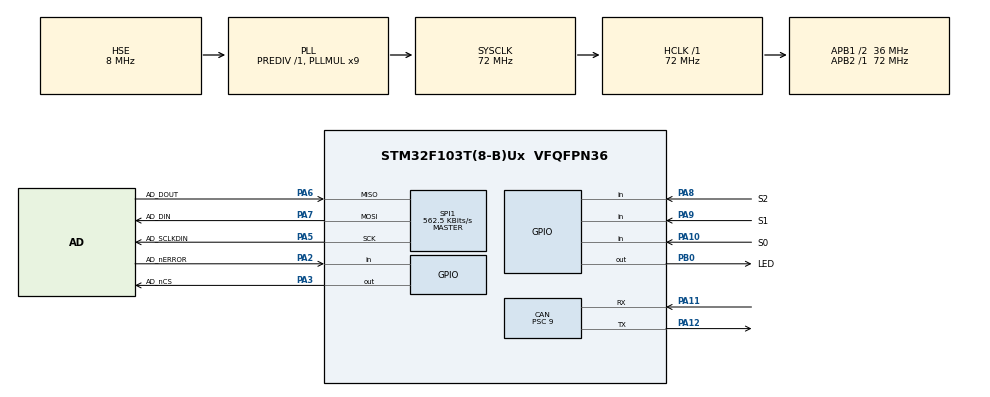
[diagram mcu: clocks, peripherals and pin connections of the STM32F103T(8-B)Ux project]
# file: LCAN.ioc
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CAN.ABOM=DISABLE
CAN.BS1=CAN_BS1_15TQ
CAN.BS2=CAN_BS2_4TQ
CAN.CalculateBaudRate=200000
CAN.CalculateTimeBit=5000.00
CAN.CalculateTimeQuantum=250.0
CAN.NART=DISABLE
CAN.Prescaler=9
CAN.SJW=CAN_SJW_4TQ
FREERTOS.Tasks01=ConsumerTask,0,128,ConsumerStarttTask,Default,NULL,Dynamic,NULL,NULL;ProducerTask,-3,128,ProducerStartTask,Default,NULL,Dynamic,NULL,NULL;Producet_ad_Tas,-3,128,Producet_ad_Task,Default,NULL,Dynamic,NULL,NULL
Mcu.Family=STM32F1
Mcu.Name=STM32F103T(8-B)Ux
Mcu.Package=VFQFPN36
NVIC.PriorityGroup=NVIC_PRIORITYGROUP_4
NVIC.TIM1_UP_IRQn=true\:5\:0\:false\:false\:true\:true\:true\:true
NVIC.TIM2_IRQn=true\:0\:0\:false\:false\:true\:false\:false\:true
NVIC.TimeBase=TIM2_IRQn
NVIC.TimeBaseIP=TIM2
NVIC.USB_LP_CAN1_RX0_IRQn=true\:5\:0\:false\:false\:true\:true\:true\:true
PA10.GPIO_Label=S0
PA10.GPIO_PuPd=GPIO_PULLUP
PA10.Signal=GPIO_Input
PA11.Mode=CAN_Activate
PA11.Signal=CAN_RX
PA12.Mode=CAN_Activate
PA12.Signal=CAN_TX
PA13.Mode=Serial_Wire
PA13.Signal=SYS_JTMS-SWDIO
PA14.Mode=Serial_Wire
PA14.Signal=SYS_JTCK-SWCLK
PA2.GPIO_Label=AD_nERROR
PA2.Signal=GPIO_Input
PA3.GPIO_Label=AD_nCS
PA3.GPIO_Speed=GPIO_SPEED_FREQ_HIGH
PA3.PinState=GPIO_PIN_SET
PA3.Signal=GPIO_Output
PA5.GPIO_Label=AD_SCLKDIN
PA5.Mode=Full_Duplex_Master
PA5.Signal=SPI1_SCK
PA6.GPIO_Label=AD_DOUT
PA6.Mode=Full_Duplex_Master
PA6.Signal=SPI1_MISO
PA7.GPIO_Label=AD_DIN
PA7.Mode=Full_Duplex_Master
PA7.Signal=SPI1_MOSI
PA8.GPIO_Label=S2
PA8.GPIO_PuPd=GPIO_PULLUP
PA8.Signal=GPIO_Input
PA9.GPIO_Label=S1
PA9.GPIO_PuPd=GPIO_PULLUP
PA9.Signal=GPIO_Input
PB0.GPIO_Label=LED
PB0.Signal=GPIO_Output
PD0-OSC_IN.Mode=HSE-External-Oscillator
PD0-OSC_IN.Signal=RCC_OSC_IN
PD1-OSC_OUT.Mode=HSE-External-Oscillator
PD1-OSC_OUT.Signal=RCC_OSC_OUT
ProjectManager.HeapSize=0x200
ProjectManager.StackSize=0x400
ProjectManager.TargetToolchain=MDK-ARM V5.27
RCC.AHBFreq_Value=72000000
RCC.APB1CLKDivider=RCC_HCLK_DIV2
RCC.APB1Freq_Value=36000000
RCC.APB1TimFreq_Value=72000000
RCC.APB2Freq_Value=72000000
RCC.APB2TimFreq_Value=72000000
RCC.HCLKFreq_Value=72000000
RCC.PLLMUL=RCC_PLL_MUL9
RCC.PLLSourceVirtual=RCC_PLLSOURCE_HSE
RCC.SYSCLKFreq_VALUE=72000000
RCC.SYSCLKSource=RCC_SYSCLKSOURCE_PLLCLK
RCC.USBFreq_Value=72000000
SPI1.BaudRatePrescaler=SPI_BAUDRATEPRESCALER_128
SPI1.CLKPhase=SPI_PHASE_2EDGE
SPI1.CLKPolarity=SPI_POLARITY_HIGH
SPI1.CalculateBaudRate=562.5 KBits/s
SPI1.Direction=SPI_DIRECTION_2LINES
SPI1.Mode=SPI_MODE_MASTER
SPI1.VirtualType=VM_MASTER
TIM1.Period=10000-1
TIM1.Prescaler=7200
VP_FREERTOS_VS_CMSIS_V1.Mode=CMSIS_V1
VP_SYS_VS_tim2.Mode=TIM2
VP_TIM1_VS_ClockSourceINT.Mode=Internal
board=custom

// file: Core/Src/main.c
/* USER CODE BEGIN Header */
/**
  ******************************************************************************
  * @file           : main.c
  * @brief          : Main program body
  ******************************************************************************
  * @attention
  *
  * <h2><center>&copy; Copyright (c) 2021 STMicroelectronics.
  * All rights reserved.</center></h2>
  *
  * This software component is licensed by ST under BSD 3-Clause license,
  * the "License"; You may not use this file except in compliance with the
  * License. You may obtain a copy of the License at:
  *                        opensource.org/licenses/BSD-3-Clause
  *
  ******************************************************************************
  */
/* USER CODE END Header */
#include "main.h"
#include "cmsis_os.h"

/* USER CODE BEGIN Includes */
#include "Can_Filter_Init.h"
#include "DataOut.h"
#include "ad7172-2.h"
#include "Dev_Ini.h"
/* USER CODE END Includes */

CAN_HandleTypeDef hcan;

SPI_HandleTypeDef hspi1;

TIM_HandleTypeDef htim1;

osThreadId ConsumerTaskHandle;
osThreadId ProducerTaskHandle;
osThreadId Producet_ad_TasHandle;
/* USER CODE BEGIN PV */
		//定时器信号量
		uint32_t flag = 0;
		 //生产AD信号量
extern volatile int    OneConvert  ;
extern int  AD_Data_Filiter;
extern int  AD_Data;
/* USER CODE END PV */

void SystemClock_Config(void);
static void MX_GPIO_Init(void);
static void MX_CAN_Init(void);
static void MX_SPI1_Init(void);
static void MX_TIM1_Init(void);
void ConsumerStarttTask(void const * argument);
void ProducerStartTask(void const * argument);
void Producet_ad_Task(void const * argument);

int main(void)
{

  /* MCU Configuration--------------------------------------------------------*/

  /* Reset of all peripherals, Initializes the Flash interface and the Systick. */
  HAL_Init();

  /* Configure the system clock */
  SystemClock_Config();

  /* USER CODE BEGIN SysInit */
	//	Dictionary_Data[1].object = XX;
  /* USER CODE END SysInit */

  /* Initialize all configured peripherals */
  MX_GPIO_Init();
  MX_CAN_Init();
  MX_SPI1_Init();
  MX_TIM1_Init();
  /* USER CODE BEGIN 2 */
	Set_FidMode();
	ad7172_ini();
//	if(!SET_MODE)
//			DevIni();
  /* USER CODE END 2 */

  /* Create the thread(s) */
  /* definition and creation of ConsumerTask */
  osThreadDef(ConsumerTask, ConsumerStarttTask, osPriorityNormal, 0, 128);
  ConsumerTaskHandle = osThreadCreate(osThread(ConsumerTask), NULL);

  /* definition and creation of ProducerTask */
  osThreadDef(ProducerTask, ProducerStartTask, osPriorityHigh, 0, 128);
  ProducerTaskHandle = osThreadCreate(osThread(ProducerTask), NULL);

  /* definition and creation of Producet_ad_Tas */
  osThreadDef(Producet_ad_Tas, Producet_ad_Task, osPriorityHigh, 0, 128);
  Producet_ad_TasHandle = osThreadCreate(osThread(Producet_ad_Tas), NULL);

  /* Start scheduler */
   osKernelStart();

  /* We should never get here as control is now taken by the scheduler */
  /* Infinite loop */
  while (1)
  {

  }
}

void SystemClock_Config(void)
{
  RCC_OscInitTypeDef RCC_OscInitStruct = {0};
  RCC_ClkInitTypeDef RCC_ClkInitStruct = {0};

  /** Initializes the RCC Oscillators according to the specified parameters
  * in the RCC_OscInitTypeDef structure.
  */
  RCC_OscInitStruct.OscillatorType = RCC_OSCILLATORTYPE_HSE;
  RCC_OscInitStruct.HSEState = RCC_HSE_ON;
  RCC_OscInitStruct.HSEPredivValue = RCC_HSE_PREDIV_DIV1;
  RCC_OscInitStruct.HSIState = RCC_HSI_ON;
  RCC_OscInitStruct.PLL.PLLState = RCC_PLL_ON;
  RCC_OscInitStruct.PLL.PLLSource = RCC_PLLSOURCE_HSE;
  RCC_OscInitStruct.PLL.PLLMUL = RCC_PLL_MUL9;
  if (HAL_RCC_OscConfig(&RCC_OscInitStruct) != HAL_OK)
  {
    Error_Handler();
  }
  /** Initializes the CPU, AHB and APB buses clocks
  */
  RCC_ClkInitStruct.ClockType = RCC_CLOCKTYPE_HCLK|RCC_CLOCKTYPE_SYSCLK
                              |RCC_CLOCKTYPE_PCLK1|RCC_CLOCKTYPE_PCLK2;
  RCC_ClkInitStruct.SYSCLKSource = RCC_SYSCLKSOURCE_PLLCLK;
  RCC_ClkInitStruct.AHBCLKDivider = RCC_SYSCLK_DIV1;
  RCC_ClkInitStruct.APB1CLKDivider = RCC_HCLK_DIV2;
  RCC_ClkInitStruct.APB2CLKDivider = RCC_HCLK_DIV1;

  if (HAL_RCC_ClockConfig(&RCC_ClkInitStruct, FLASH_LATENCY_2) != HAL_OK)
  {
    Error_Handler();
  }
}

static void MX_CAN_Init(void)
{

  hcan.Instance = CAN1;
  hcan.Init.Prescaler = 9;
  hcan.Init.Mode = CAN_MODE_NORMAL;
  hcan.Init.SyncJumpWidth = CAN_SJW_4TQ;
  hcan.Init.TimeSeg1 = CAN_BS1_15TQ;
  hcan.Init.TimeSeg2 = CAN_BS2_4TQ;
  hcan.Init.TimeTriggeredMode = DISABLE;
  hcan.Init.AutoBusOff = DISABLE;
  hcan.Init.AutoWakeUp = DISABLE;
  hcan.Init.AutoRetransmission = DISABLE;
  hcan.Init.ReceiveFifoLocked = DISABLE;
  hcan.Init.TransmitFifoPriority = DISABLE;
  if (HAL_CAN_Init(&hcan) != HAL_OK)
  {
    Error_Handler();
  }
  /* USER CODE BEGIN CAN_Init 2 */
		Set_Can_Filter(&hcan);//初始化CAN滤波器
  /* USER CODE END CAN_Init 2 */

}

static void MX_SPI1_Init(void)
{

  /* SPI1 parameter configuration*/
  hspi1.Instance = SPI1;
  hspi1.Init.Mode = SPI_MODE_MASTER;
  hspi1.Init.Direction = SPI_DIRECTION_2LINES;
  hspi1.Init.DataSize = SPI_DATASIZE_8BIT;
  hspi1.Init.CLKPolarity = SPI_POLARITY_HIGH;
  hspi1.Init.CLKPhase = SPI_PHASE_2EDGE;
  hspi1.Init.NSS = SPI_NSS_SOFT;
  hspi1.Init.BaudRatePrescaler = SPI_BAUDRATEPRESCALER_128;
  hspi1.Init.FirstBit = SPI_FIRSTBIT_MSB;
  hspi1.Init.TIMode = SPI_TIMODE_DISABLE;
  hspi1.Init.CRCCalculation = SPI_CRCCALCULATION_DISABLE;
  hspi1.Init.CRCPolynomial = 10;
  if (HAL_SPI_Init(&hspi1) != HAL_OK)
  {
    Error_Handler();
  }

}

static void MX_TIM1_Init(void)
{

  TIM_ClockConfigTypeDef sClockSourceConfig = {0};
  TIM_MasterConfigTypeDef sMasterConfig = {0};

  htim1.Instance = TIM1;
  htim1.Init.Prescaler = 72;
  htim1.Init.CounterMode = TIM_COUNTERMODE_UP;
  htim1.Init.Period = 1000-1;
  htim1.Init.ClockDivision = TIM_CLOCKDIVISION_DIV1;
  htim1.Init.RepetitionCounter = 0;
  htim1.Init.AutoReloadPreload = TIM_AUTORELOAD_PRELOAD_DISABLE;
  if (HAL_TIM_Base_Init(&htim1) != HAL_OK)
  {
    Error_Handler();
  }
  sClockSourceConfig.ClockSource = TIM_CLOCKSOURCE_INTERNAL;
  if (HAL_TIM_ConfigClockSource(&htim1, &sClockSourceConfig) != HAL_OK)
  {
    Error_Handler();
  }
  sMasterConfig.MasterOutputTrigger = TIM_TRGO_RESET;
  sMasterConfig.MasterSlaveMode = TIM_MASTERSLAVEMODE_DISABLE;
  if (HAL_TIMEx_MasterConfigSynchronization(&htim1, &sMasterConfig) != HAL_OK)
  {
    Error_Handler();
  }
  /* USER CODE BEGIN TIM1_Init 2 */
		HAL_TIM_Base_Start_IT(&htim1);
  /* USER CODE END TIM1_Init 2 */

}

static void MX_GPIO_Init(void)
{
  GPIO_InitTypeDef GPIO_InitStruct = {0};

  /* GPIO Ports Clock Enable */
  __HAL_RCC_GPIOD_CLK_ENABLE();
  __HAL_RCC_GPIOA_CLK_ENABLE();
  __HAL_RCC_GPIOB_CLK_ENABLE();

  /*Configure GPIO pin Output Level */
  HAL_GPIO_WritePin(AD_nCS_GPIO_Port, AD_nCS_Pin, GPIO_PIN_SET);

  /*Configure GPIO pin Output Level */
  HAL_GPIO_WritePin(LED_GPIO_Port, LED_Pin, GPIO_PIN_RESET);

  /*Configure GPIO pin : AD_nERROR_Pin */
  GPIO_InitStruct.Pin = AD_nERROR_Pin;
  GPIO_InitStruct.Mode = GPIO_MODE_INPUT;
  GPIO_InitStruct.Pull = GPIO_NOPULL;
  HAL_GPIO_Init(AD_nERROR_GPIO_Port, &GPIO_InitStruct);

  /*Configure GPIO pin : AD_nCS_Pin */
  GPIO_InitStruct.Pin = AD_nCS_Pin;
  GPIO_InitStruct.Mode = GPIO_MODE_OUTPUT_PP;
  GPIO_InitStruct.Pull = GPIO_NOPULL;
  GPIO_InitStruct.Speed = GPIO_SPEED_FREQ_HIGH;
  HAL_GPIO_Init(AD_nCS_GPIO_Port, &GPIO_InitStruct);

  /*Configure GPIO pin : LED_Pin */
  GPIO_InitStruct.Pin = LED_Pin;
  GPIO_InitStruct.Mode = GPIO_MODE_OUTPUT_PP;
  GPIO_InitStruct.Pull = GPIO_NOPULL;
  GPIO_InitStruct.Speed = GPIO_SPEED_FREQ_LOW;
  HAL_GPIO_Init(LED_GPIO_Port, &GPIO_InitStruct);

  /*Configure GPIO pins : S2_Pin S1_Pin S0_Pin */
  GPIO_InitStruct.Pin = S2_Pin|S1_Pin|S0_Pin;
  GPIO_InitStruct.Mode = GPIO_MODE_INPUT;
  GPIO_InitStruct.Pull = GPIO_PULLUP;
  HAL_GPIO_Init(GPIOA, &GPIO_InitStruct);

}

/* USER CODE BEGIN 4 */
void HAL_TIM_PeriodElapsedCallback(TIM_HandleTypeDef *htim)
{
	  if (htim->Instance == TIM2) {
    HAL_IncTick();
  }
  if(htim->Instance == TIM1)
	{
		flag++;
		if(flag>=50)
		{
			flag=0;
			OneConvert = 1;
			HAL_GPIO_TogglePin(LED_GPIO_Port, LED_Pin);

		}

	};
}
/* USER CODE END 4 */

void ConsumerStarttTask(void const * argument)
{
  /* USER CODE BEGIN 5 */
  /* Infinite loop */
  for(;;)
  {
		Consumer_Event();
			osDelay(1);
  }
  /* USER CODE END 5 */
}

void ProducerStartTask(void const * argument)
{
  /* USER CODE BEGIN ProducerStartTask */
  /* Infinite loop */
  for(;;)
  {
		Producer_Event();
		Deliver_Event();
    osDelay(1);
  }
  /* USER CODE END ProducerStartTask */
}

void Producet_ad_Task(void const * argument)
{
  /* USER CODE BEGIN Producet_ad_Task */
  /* Infinite loop */
  for(;;)
  {
		Data_Output_Task();
    osDelay(1);
  }
  /* USER CODE END Producet_ad_Task */
}

 /**
  * @brief  Period elapsed callback in non blocking mode
  * @note   This function is called  when TIM2 interrupt took place, inside
  * HAL_TIM_IRQHandler(). It makes a direct call to HAL_IncTick() to increment
  * a global variable "uwTick" used as application time base.
  * @param  htim : TIM handle
  * @retval None
  */

void Error_Handler(void)
{
  /* USER CODE BEGIN Error_Handler_Debug */
  /* User can add his own implementation to report the HAL error return state */

		HAL_Delay(300);
		HAL_GPIO_TogglePin(LED_GPIO_Port, LED_Pin);
		HAL_Delay(300);
		HAL_GPIO_TogglePin(LED_GPIO_Port, LED_Pin);
		HAL_Delay(300);
		HAL_GPIO_TogglePin(LED_GPIO_Port, LED_Pin);
		HAL_Delay(300);
	  __disable_irq();
	while(1)
	{

	}
  /* USER CODE END Error_Handler_Debug */
}

/************************ (C) COPYRIGHT STMicroelectronics *****END OF FILE****/
